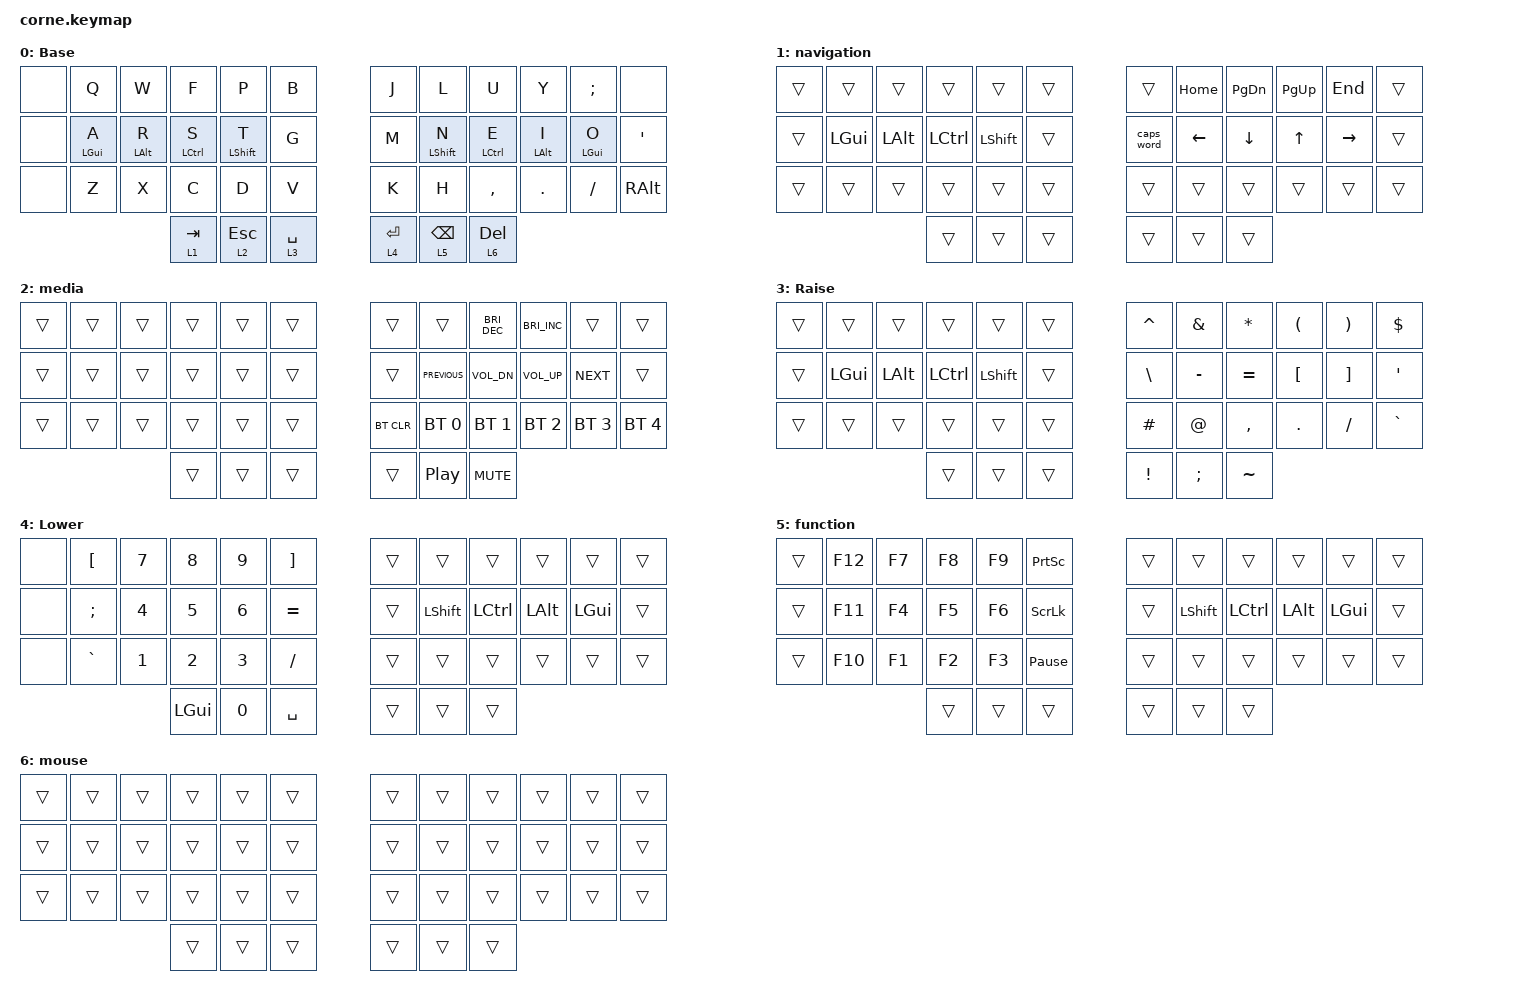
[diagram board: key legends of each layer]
/*
 * Copyright (c) 2020 The ZMK Contributors
 *
 * SPDX-License-Identifier: MIT
 */

#include <behaviors.dtsi>
#include <dt-bindings/zmk/bt.h>
#include <dt-bindings/zmk/keys.h>

#define AS(keycode) &as LS(keycode) keycode     // Autoshift Macro

/ {
    behaviors {
        rh_pht: right_positional_hold_tap {
            compatible = "zmk,behavior-hold-tap";
            #binding-cells = <2>;
            flavor = "balanced";
            tapping-term-ms = <300>;                        // <---[[produces tap if held longer than tapping-term-ms]]
            quick-tap-ms = <175>;
            bindings = <&kp>, <&kp>;

            hold-trigger-key-positions = <0 1 2 3 4 5 12 13 14 15 16 17 24 25 26 27 28 29 36 37 38>;    // <---[[right-hand keys]]
            hold-trigger-on-release;
            require-prior-idle-ms = <150>;
        };

        lh_pht: left_positional_hold_tap {
            compatible = "zmk,behavior-hold-tap";
            #binding-cells = <2>;
            flavor = "balanced";
            tapping-term-ms = <300>;                        // <---[[produces tap if held longer than tapping-term-ms]]
            quick-tap-ms = <175>;
            bindings = <&kp>, <&kp>;

            hold-trigger-key-positions = <6 7 8 9 10 6 7 8 9 10 11 18 19 20 21 22 23 30 31 32 33 34 35 39 40 41 36 37 38>;    // <---[[right-hand keys]]
            hold-trigger-on-release;
            require-prior-idle-ms = <150>;
        };

        as: auto_shift {
            compatible = "zmk,behavior-hold-tap";
            #binding-cells = <2>;
            tapping_term_ms = <135>;
            quick_tap_ms = <0>;
            flavor = "tap-preferred";
            bindings = <&kp>, <&kp>;
        };
    };

    keymap {
        compatible = "zmk,keymap";

        default {
            // -----------------------------------------------------------------------------------------
            // |  TAB |  Q  |  W  |  E  |  R  |  T  |   |  Y  |  U   |  I  |  O  |  P  | BKSP |
            // | CTRL |  A  |  S  |  D  |  F  |  G  |   |  H  |  J   |  K  |  L  |  ;  |  '   |
            // | SHFT |  Z  |  X  |  C  |  V  |  B  |   |  N  |  M   |  ,  |  .  |  /  | ESC  |
            //                    | GUI | LWR | SPC |   | ENT | RSE  | ALT |

            display-name = "Base";
            bindings = <
&none  &kp Q               &kp W               &kp F            &kp P                 &kp B          &kp J         &kp L                 &kp U            &kp Y               &kp SEMICOLON       &none
&none  &lh_pht LEFT_GUI A  &lh_pht LEFT_ALT R  &lh_pht LCTRL S  &lh_pht LEFT_SHIFT T  &kp G          &kp M         &rh_pht LEFT_SHIFT N  &rh_pht LCTRL E  &rh_pht LEFT_ALT I  &rh_pht LEFT_GUI O  &kp SQT
&none  &kp Z               &kp X               &kp C            &kp D                 &kp V          &kp K         &kp H                 &kp COMMA        &kp DOT             &kp FSLH            &kp RIGHT_ALT
                                               &lt 1 TAB        &lt 2 ESC             &lt 3 SPACE    &lt 4 RETURN  &lt 5 BACKSPACE       &lt 6 DEL
            >;
        };

        navigation {
            bindings = <
&trans  &trans    &trans    &trans     &trans     &trans    &trans      &kp HOME        &kp PAGE_DOWN   &kp PAGE_UP   &kp END          &trans
&trans  &kp LGUI  &kp LALT  &kp LCTRL  &kp LSHFT  &trans    &caps_word  &kp LEFT_ARROW  &kp DOWN_ARROW  &kp UP_ARROW  &kp RIGHT_ARROW  &trans
&trans  &trans    &trans    &trans     &trans     &trans    &trans      &trans          &trans          &trans        &trans           &trans
                            &trans     &trans     &trans    &trans      &trans          &trans
            >;
        };

        media {
            bindings = <
&trans  &trans  &trans  &trans  &trans  &trans    &trans      &trans            &kp C_BRIGHTNESS_DEC  &kp C_BRIGHTNESS_INC  &trans        &trans
&trans  &trans  &trans  &trans  &trans  &trans    &trans      &kp C_PREVIOUS    &kp C_VOL_DN          &kp C_VOL_UP          &kp C_NEXT    &trans
&trans  &trans  &trans  &trans  &trans  &trans    &bt BT_CLR  &bt BT_SEL 0      &bt BT_SEL 1          &bt BT_SEL 2          &bt BT_SEL 3  &bt BT_SEL 4
                        &trans  &trans  &trans    &trans      &kp C_PLAY_PAUSE  &kp C_MUTE
            >;
        };

        symbol {
            // -----------------------------------------------------------------------------------------
            // |  TAB |  !  |  @  |  #  |  $  |  %  |   |  ^  |  &  |  *  |  (  |  )  | BKSP |
            // | CTRL |     |     |     |     |     |   |  -  |  =  |  [  |  ]  |  \  |  `   |
            // | SHFT |     |     |     |     |     |   |  _  |  +  |  {  |  }  | "|" |  ~   |
            //                    | GUI |     | SPC |   | ENT |     | ALT |

            display-name = "Raise";
            bindings = <
&trans  &trans    &trans    &trans     &trans     &trans    &kp CARET      &kp AMPERSAND  &kp ASTERISK  &kp LEFT_PARENTHESIS  &kp RIGHT_PARENTHESIS  &kp DOLLAR
&trans  &kp LGUI  &kp LALT  &kp LCTRL  &kp LSHFT  &trans    &kp BACKSLASH  &kp MINUS      &kp EQUAL     &kp LEFT_BRACKET      &kp RIGHT_BRACKET      &kp APOS
&trans  &trans    &trans    &trans     &trans     &trans    &kp POUND      &kp AT         &kp COMMA     &kp DOT               &kp FSLH               &kp GRAVE
                            &trans     &trans     &trans    &kp EXCL       &kp SEMI       &kp TILDE
            >;
        };

        number {
            // -----------------------------------------------------------------------------------------
            // |  TAB |  1  |  2  |  3  |  4  |  5  |   |  6  |  7  |  8  |  9  |  0  | BKSP |
            // | BTCLR| BT1 | BT2 | BT3 | BT4 | BT5 |   | LFT | DWN |  UP | RGT |     |      |
            // | SHFT |     |     |     |     |     |   |     |     |     |     |     |      |
            //                    | GUI |     | SPC |   | ENT |     | ALT |

            display-name = "Lower";
            bindings = <
&none  &kp LBKT   &kp N7  &kp N8    &kp N9        &kp RBKT     &trans  &trans     &trans     &trans    &trans    &trans
&none  &kp SEMI   &kp N4  &kp N5    &kp N6        &kp EQUAL    &trans  &kp LSHFT  &kp LCTRL  &kp LALT  &kp LGUI  &trans
&none  &kp GRAVE  &kp N1  &kp N2    &kp N3        &kp FSLH     &trans  &trans     &trans     &trans    &trans    &trans
                          &kp LGUI  &kp NUMBER_0  &kp SPACE    &trans  &trans     &trans
            >;
        };

        function {
            bindings = <
&trans  &kp F12  &kp F7  &kp F8  &kp F9  &kp PRINTSCREEN    &trans  &trans     &trans     &trans    &trans    &trans
&trans  &kp F11  &kp F4  &kp F5  &kp F6  &kp SCROLLLOCK     &trans  &kp LSHFT  &kp LCTRL  &kp LALT  &kp LGUI  &trans
&trans  &kp F10  &kp F1  &kp F2  &kp F3  &kp PAUSE_BREAK    &trans  &trans     &trans     &trans    &trans    &trans
                         &trans  &trans  &trans             &trans  &trans     &trans
            >;
        };

        mouse {
            bindings = <
&trans  &trans  &trans  &trans  &trans  &trans    &trans  &trans  &trans  &trans  &trans  &trans
&trans  &trans  &trans  &trans  &trans  &trans    &trans  &trans  &trans  &trans  &trans  &trans
&trans  &trans  &trans  &trans  &trans  &trans    &trans  &trans  &trans  &trans  &trans  &trans
                        &trans  &trans  &trans    &trans  &trans  &trans
            >;
        };
    };
};
